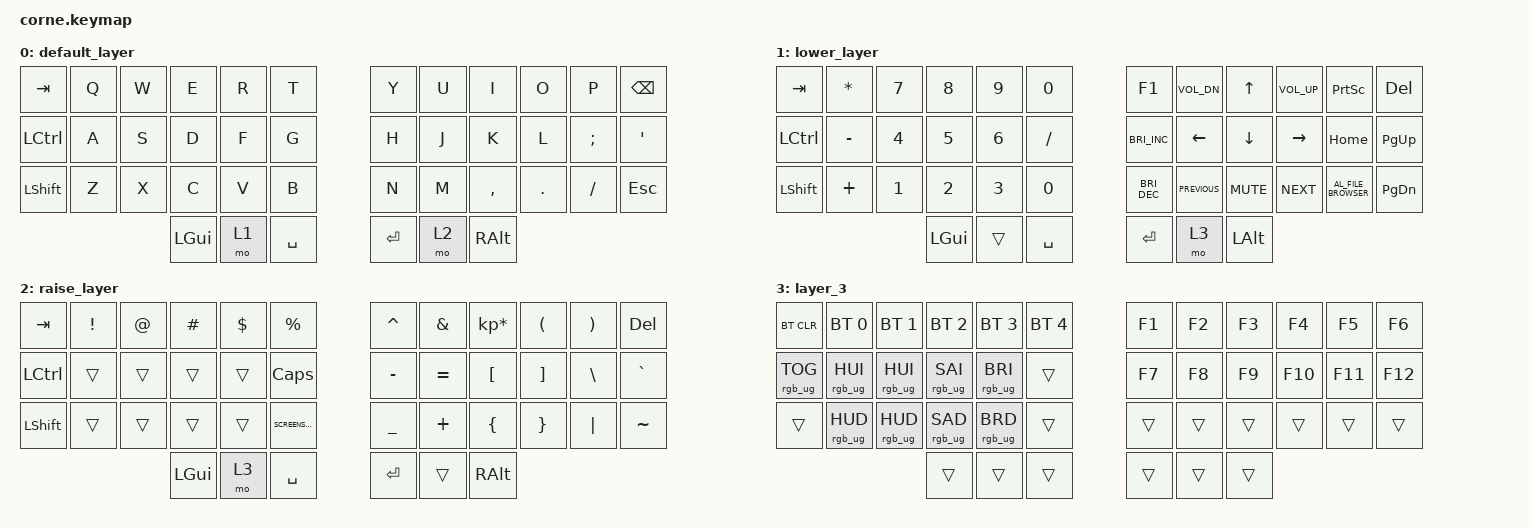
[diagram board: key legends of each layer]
/*
 * Copyright (c) 2020 The ZMK Contributors
 *
 * SPDX-License-Identifier: MIT
 */

#include <behaviors.dtsi>
#include <dt-bindings/zmk/bt.h>
#include <dt-bindings/zmk/keys.h>
#include <dt-bindings/zmk/rgb.h>

/ {
    keymap {
        compatible = "zmk,keymap";

        default_layer {
            // -----------------------------------------------------------------------------------------
            // |  TAB |  Q  |  W  |  E  |  R  |  T  |   |  Y  |  U   |  I  |  O  |  P  | BKSP |
            // | CTRL |  A  |  S  |  D  |  F  |  G  |   |  H  |  J   |  K  |  L  |  ;  |  '   |
            // | SHFT |  Z  |  X  |  C  |  V  |  B  |   |  N  |  M   |  ,  |  .  |  /  | ESC  |
            //                    | GUI | LWR | SPC |   | ENT | RSE  | ALT |

            bindings = <
&kp TAB    &kp Q  &kp W  &kp E     &kp R  &kp T        &kp Y    &kp U  &kp I      &kp O    &kp P     &kp BSPC
&kp LCTRL  &kp A  &kp S  &kp D     &kp F  &kp G        &kp H    &kp J  &kp K      &kp L    &kp SEMI  &kp SQT
&kp LSHFT  &kp Z  &kp X  &kp C     &kp V  &kp B        &kp N    &kp M  &kp COMMA  &kp DOT  &kp FSLH  &kp ESC
                         &kp LGUI  &mo 1  &kp SPACE    &kp RET  &mo 2  &kp RALT
            >;
        };

        lower_layer {
            // -----------------------------------------------------------------------------------------
            // |  TAB |  1  |  2  |  3  |  4  |  5  |   |  6  |  7  |  8  |  9  |  0  | BKSP |
            // | BTCLR| BT1 | BT2 | BT3 | BT4 | BT5 |   | LFT | DWN |  UP | RGT |     |      |
            // | SHFT |     |     |     |     |     |   |     |     |     |     |     |      |
            //                    | GUI |     | SPC |   | ENT |     | ALT |

            bindings = <
&kp TAB           &kp ASTERISK  &kp N7        &kp N8        &kp N9        &kp N0   &kp F1                &kp C_VOL_DN    &kp UP        &kp C_VOLUME_UP  &kp PRINTSCREEN        &kp DELETE
&kp LEFT_CONTROL  &kp MINUS     &kp N4  &kp N5  &kp N6  &kp SLASH          &kp C_BRIGHTNESS_INC  &kp LEFT        &kp DOWN      &kp RIGHT        &kp HOME               &kp PAGE_UP
&kp LSHFT         &kp PLUS      &kp N1        &kp N2  &kp N3  &kp N0          &kp C_BRIGHTNESS_DEC  &kp K_PREVIOUS  &kp K_MUTE    &kp K_NEXT       &kp C_AL_FILE_BROWSER  &kp PAGE_DOWN
                                                 &kp LGUI         &trans           &kp SPACE          &kp RET               &mo 3           &kp LEFT_ALT
            >;
        };

        raise_layer {
            // -----------------------------------------------------------------------------------------
            // |  TAB |  !  |  @  |  #  |  $  |  %  |   |  ^  |  &  |  *  |  (  |  )  | BKSP |
            // | CTRL |     |     |     |     |     |   |  -  |  =  |  [  |  ]  |  \  |  `   |
            // | SHFT |     |     |     |     |     |   |  _  |  +  |  {  |  }  | "|" |  ~   |
            //                    | GUI |     | SPC |   | ENT |     | ALT |

            bindings = <
&kp TAB    &kp EXCL  &kp AT  &kp HASH  &kp DLLR  &kp PRCNT            &kp CARET  &kp AMPS   &kp KP_MULTIPLY  &kp LPAR  &kp RPAR  &kp DELETE
&kp LCTRL  &trans    &trans  &trans    &trans    &kp CAPSLOCK         &kp MINUS  &kp EQUAL  &kp LBKT         &kp RBKT  &kp BSLH  &kp GRAVE
&kp LSHFT  &trans    &trans  &trans    &trans    &kp K_SCREENSAVER    &kp UNDER  &kp PLUS   &kp LBRC         &kp RBRC  &kp PIPE  &kp TILDE
                             &kp LGUI  &mo 3     &kp SPACE            &kp RET    &trans     &kp RALT
            >;
        };

        layer_3 {
            bindings = <
&bt BT_CLR       &bt BT_SEL 0     &bt BT_SEL 1     &bt BT_SEL 2     &bt BT_SEL 3     &bt BT_SEL 4    &kp F1  &kp F2  &kp F3  &kp F4   &kp F5   &kp F6
&rgb_ug RGB_TOG  &rgb_ug RGB_HUI  &rgb_ug RGB_HUI  &rgb_ug RGB_SAI  &rgb_ug RGB_BRI  &trans          &kp F7  &kp F8  &kp F9  &kp F10  &kp F11  &kp F12
&trans           &rgb_ug RGB_HUD  &rgb_ug RGB_HUD  &rgb_ug RGB_SAD  &rgb_ug RGB_BRD  &trans          &trans  &trans  &trans  &trans   &trans   &trans
                                                   &trans           &trans           &trans          &trans  &trans  &trans
            >;
        };
    };
};
